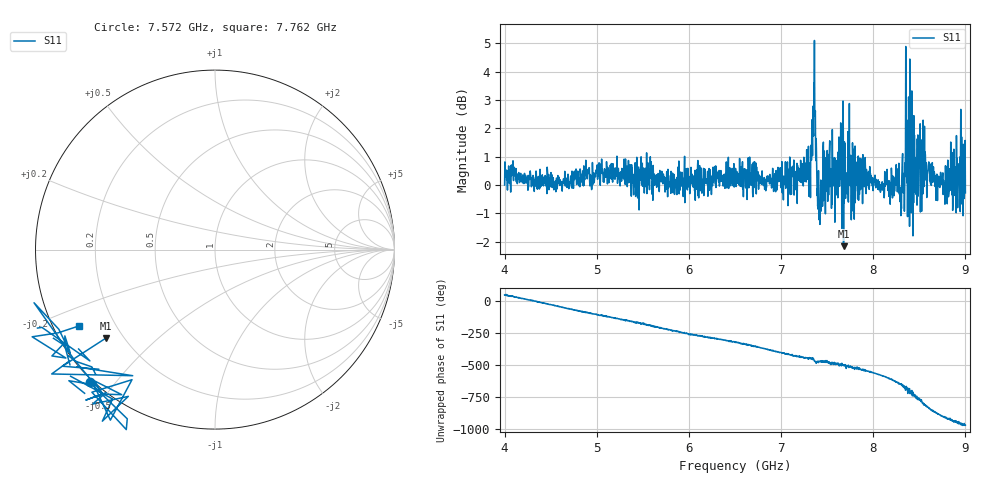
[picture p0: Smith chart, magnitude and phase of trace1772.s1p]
! Created with skrf 1.8.0 (http://scikit-rf.org).
# Hz S RI R 50.0
!freq ReS11 ImS11
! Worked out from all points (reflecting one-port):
!   1601 points, 4 GHz to 9 GHz, reference 50 ohm
!   lowest |S11| = -2.2 dB at 7.678 GHz (marker M1), VSWR 8.09, Z = 6.95 - j17.4 ohm
!   phase of S11 starts at 51 deg and turns -1019 deg over the sweep
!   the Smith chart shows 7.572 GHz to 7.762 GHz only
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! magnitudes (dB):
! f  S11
! 4 GHz  0.0
! 4.094 GHz  0.3
! 4.625 GHz  -0.2
! 4.894 GHz  0.4
! 5.25 GHz  0.2
! 5.875 GHz  0.2
! 6.5 GHz  0.2
! 7.125 GHz  0.5
! 7.294 GHz  0.4
! 7.328 GHz  0.9
! 7.347 GHz  2.8
! 7.359 GHz  3.5
! 7.4 GHz  -0.5
! 7.412 GHz  -1.2
! 7.509 GHz  0.4
! 7.609 GHz  0.0
! 7.65 GHz  1.9
! 7.678 GHz  -2.2
! 7.703 GHz  0.0
! 7.75 GHz  0.7
! 8.316 GHz  0.9
! 8.338 GHz  -0.9
! 8.375 GHz  0.9
! 8.447 GHz  1.8
! 8.553 GHz  0.2
! 8.797 GHz  0.6
! 8.953 GHz  -0.7
! 9 GHz  -0.3
